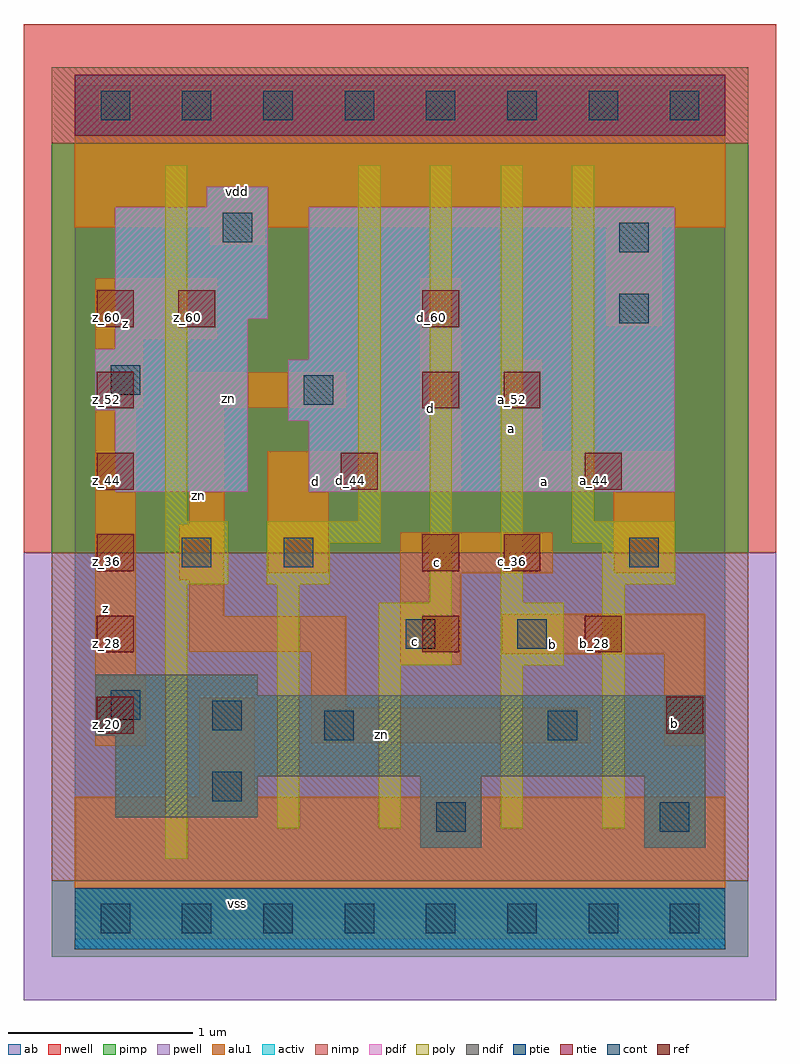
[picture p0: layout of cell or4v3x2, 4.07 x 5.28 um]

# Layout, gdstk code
import gdstk
lib = gdstk.Library(unit=1e-6, precision=2.5e-09)
def R(c, l, rs):  # rectangles x0, y0, x1, y1
    for r in rs: c.add(gdstk.rectangle(r[:2], r[2:], *l))
def A(c, l, x, y, w, h, nx, ny, dx, dy):  # array of equal rectangles
    R(c, l, [(x+i*dx, y+j*dy, x+i*dx+w, y+j*dy+h) for i in range(nx) for j in range(ny)])
ndif = (3, 0)
pdif = (4, 0)
ntie = (5, 0)
ptie = (6, 0)
ref = (24, 0)
cont = (25, 0)
pwell = (41, 0)
nwell = (42, 0)
activ = (43, 0)
pimp = (44, 0)
nimp = (45, 0)
poly = (46, 0)
alu1 = (49, 0)
ab = (63, 0)

or4v3x2 = lib.new_cell('or4v3x2')
R(or4v3x2, ndif, [(1.87,0.385,2.2,0.77), (3.08,0.385,3.41,0.77), (0.22,0.55,0.99,0.77), (0.22,0.77,3.41,0.99), (0.11,0.99,3.41,1.21), (0.11,1.21,0.99,1.32)])
R(or4v3x2, pdif, [(0.22,2.31,0.935,2.75), (1.265,2.31,3.245,2.695), (1.155,2.695,3.245,3.025), (0.11,2.75,0.935,3.08), (1.265,3.025,3.245,3.85), (0.22,3.08,0.935,3.245), (0.22,3.245,1.045,3.85), (0.715,3.85,1.045,3.96)])
R(or4v3x2, ntie, [(0,4.235,3.52,4.565)])
R(or4v3x2, ptie, [(0,-0.165,3.52,0.165)])
A(or4v3x2, ref, 0.12, 1, 0.2, 0.2, 1, 3, 0, 0.44)
A(or4v3x2, ref, 0.12, 2.32, 0.2, 0.2, 3, 1, 1.32, 0)
R(or4v3x2, ref, [(3.2,1,3.4,1.2), (1.88,1.44,2.08,1.64), (2.76,1.44,2.96,1.64), (1.88,1.88,2.08,2.08), (2.32,1.88,2.52,2.08), (0.12,2.76,0.32,2.96), (1.88,2.76,2.08,2.96), (2.32,2.76,2.52,2.96), (0.12,3.2,0.32,3.4), (0.56,3.2,0.76,3.4), (1.88,3.2,2.08,3.4)])
A(or4v3x2, cont, 0.14, -0.08, 0.16, 0.16, 8, 2, 0.44, 4.4)
R(or4v3x2, cont, [(1.955,0.47,2.115,0.63), (3.165,0.47,3.325,0.63), (0.745,0.635,0.905,0.795), (1.35,0.965,1.51,1.125), (2.56,0.965,2.72,1.125), (0.745,1.02,0.905,1.18), (0.195,1.075,0.355,1.235), (1.79,1.46,1.95,1.62), (2.395,1.46,2.555,1.62), (0.58,1.9,0.74,2.06), (1.13,1.9,1.29,2.06), (3,1.9,3.16,2.06), (1.24,2.78,1.4,2.94), (0.195,2.835,0.355,2.995), (2.945,3.22,3.105,3.38), (2.945,3.605,3.105,3.765), (0.8,3.66,0.96,3.82)])
R(or4v3x2, pwell, [(-0.275,-0.44,3.795,1.98)])
R(or4v3x2, nwell, [(-0.275,1.98,3.795,4.84)])
R(or4v3x2, activ, [(0,-0.165,3.52,0.165), (1.87,0.385,2.2,0.77), (3.08,0.385,3.41,0.77), (0.22,0.55,0.99,0.77), (0.22,0.77,3.41,0.99), (0.11,0.99,3.41,1.21), (0.11,1.21,0.99,1.32), (0.22,2.31,0.935,2.75), (1.265,2.31,3.245,2.695), (1.155,2.695,3.245,3.025), (0.11,2.75,0.935,3.08), (1.265,3.025,3.245,3.85), (0.22,3.08,0.935,3.245), (0.22,3.245,1.045,3.85), (0.715,3.85,1.045,3.96), (0,4.235,3.52,4.565)])
R(or4v3x2, pimp, [(-0.125,-0.205,3.645,0.205), (-0.125,1.98,3.645,4.195)])
R(or4v3x2, nimp, [(-0.125,0.205,3.645,1.98), (-0.125,4.195,3.645,4.605)])
R(or4v3x2, poly, [(0.49,0.325,0.61,1.81), (1.095,0.49,1.215,1.81), (1.645,0.49,1.765,1.37), (2.305,0.49,2.425,1.37), (2.855,0.49,2.975,1.81), (1.645,1.37,2.04,1.71), (2.305,1.37,2.645,1.71), (1.92,1.71,2.04,4.075), (2.305,1.71,2.425,4.075), (0.49,1.81,0.83,2.15), (1.04,1.81,1.38,2.03), (2.855,1.81,3.25,2.03), (1.04,2.03,1.655,2.15), (2.69,2.03,3.25,2.15), (0.49,2.15,0.61,4.075), (1.535,2.15,1.655,4.075), (2.69,2.15,2.81,4.075)])
R(or4v3x2, alu1, [(0,-0.11,3.52,0.66), (0.675,0.66,0.975,1.195), (0.11,0.935,0.385,1.32), (3.19,0.935,3.41,1.43), (1.28,0.95,2.79,1.14), (1.28,1.14,1.47,1.445), (0.11,1.32,0.33,2.765), (1.76,1.375,2.09,1.87), (2.31,1.43,3.41,1.65), (0.62,1.445,1.47,1.635), (0.62,1.635,0.81,1.83), (0.565,1.83,0.81,2.13), (1.045,1.87,1.375,2.31), (1.76,1.87,2.585,2.09), (2.915,1.87,3.245,2.31), (0.62,2.13,0.81,2.765), (1.045,2.31,2.09,2.53), (2.31,2.31,3.245,2.53), (1.87,2.53,2.09,3.465), (2.31,2.53,2.53,3.025), (0.11,2.765,0.37,3.135), (0.62,2.765,1.47,2.955), (0.11,3.135,0.77,3.465), (2.875,3.205,3.175,3.74), (0.73,3.645,1.03,3.74), (0,3.74,3.52,4.51)])
R(or4v3x2, ab, [(0,0,3.52,4.4)])
or4v3x2.add(gdstk.Label('vss', (0.88,0.0825), layer=49, texttype=0))
or4v3x2.add(gdstk.Label('b', (3.245,1.0575), layer=49, texttype=0))
or4v3x2.add(gdstk.Label('zn', (1.6575,0.9975), layer=49, texttype=0))
or4v3x2.add(gdstk.Label('b', (2.585,1.485), layer=49, texttype=0))
or4v3x2.add(gdstk.Label('c', (1.8425,1.4975), layer=49, texttype=0))
or4v3x2.add(gdstk.Label('c', (1.965,1.925), layer=49, texttype=0))
or4v3x2.add(gdstk.Label('a', (2.5425,2.365), layer=49, texttype=0))
or4v3x2.add(gdstk.Label('a', (2.365,2.6525), layer=49, texttype=0))
or4v3x2.add(gdstk.Label('d', (1.305,2.365), layer=49, texttype=0))
or4v3x2.add(gdstk.Label('d', (1.925,2.7625), layer=49, texttype=0))
or4v3x2.add(gdstk.Label('zn', (0.6675,2.2875), layer=49, texttype=0))
or4v3x2.add(gdstk.Label('z', (0.165,1.68), layer=49, texttype=0))
or4v3x2.add(gdstk.Label('zn', (0.8325,2.8125), layer=49, texttype=0))
or4v3x2.add(gdstk.Label('z', (0.275,3.2175), layer=49, texttype=0))
or4v3x2.add(gdstk.Label('vdd', (0.88,3.9325), layer=49, texttype=0))
or4v3x2.add(gdstk.Label('z_60', (0.61,3.25), layer=24, texttype=0))
or4v3x2.add(gdstk.Label('d_44', (1.49,2.37), layer=24, texttype=0))
or4v3x2.add(gdstk.Label('c_28', (1.93,1.49), layer=24, texttype=0))
or4v3x2.add(gdstk.Label('c_36', (1.93,1.93), layer=24, texttype=0))
or4v3x2.add(gdstk.Label('d_52', (1.93,2.81), layer=24, texttype=0))
or4v3x2.add(gdstk.Label('d_60', (1.93,3.25), layer=24, texttype=0))
or4v3x2.add(gdstk.Label('z_20', (0.17,1.05), layer=24, texttype=0))
or4v3x2.add(gdstk.Label('z_28', (0.17,1.49), layer=24, texttype=0))
or4v3x2.add(gdstk.Label('z_36', (0.17,1.93), layer=24, texttype=0))
or4v3x2.add(gdstk.Label('z_44', (0.17,2.37), layer=24, texttype=0))
or4v3x2.add(gdstk.Label('z_52', (0.17,2.81), layer=24, texttype=0))
or4v3x2.add(gdstk.Label('z_60', (0.17,3.25), layer=24, texttype=0))
or4v3x2.add(gdstk.Label('c_36', (2.37,1.93), layer=24, texttype=0))
or4v3x2.add(gdstk.Label('a_52', (2.37,2.81), layer=24, texttype=0))
or4v3x2.add(gdstk.Label('b_28', (2.81,1.49), layer=24, texttype=0))
or4v3x2.add(gdstk.Label('a_44', (2.81,2.37), layer=24, texttype=0))
or4v3x2.add(gdstk.Label('b_20', (3.25,1.05), layer=24, texttype=0))

lib.write_gds('or4v3x2.gds')
